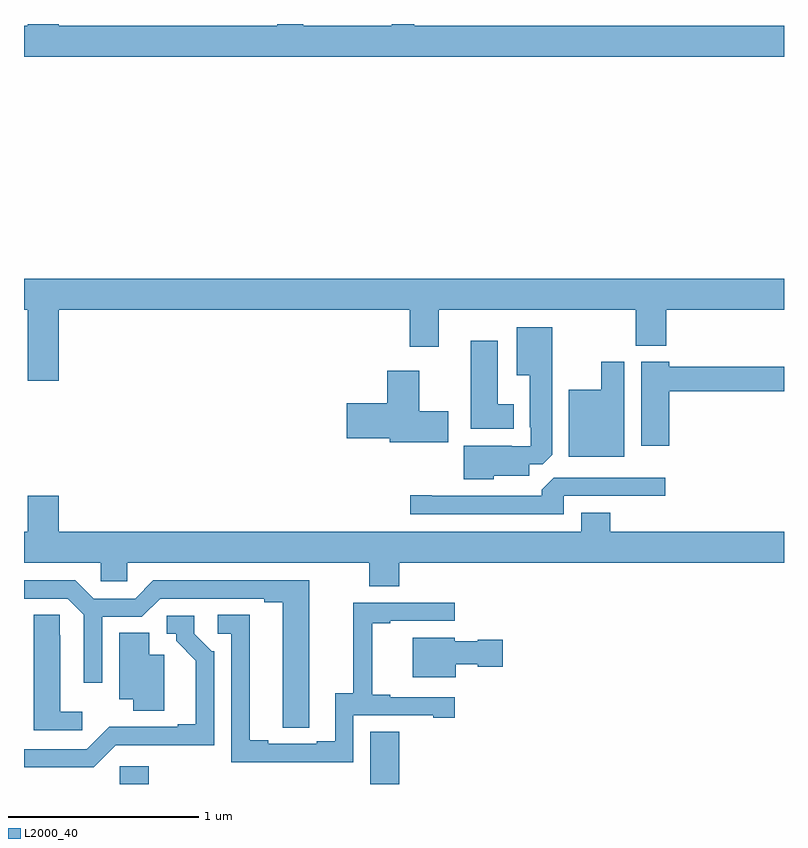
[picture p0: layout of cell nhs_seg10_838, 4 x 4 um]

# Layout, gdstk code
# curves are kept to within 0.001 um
import gdstk
lib = gdstk.Library(unit=1e-6, precision=1e-09)
def R(c, l, rs):  # rectangles x0, y0, x1, y1
    for r in rs: c.add(gdstk.rectangle(r[:2], r[2:], *l))
def P(c, l, *ps):  # polygons
    for p in ps: c.add(gdstk.Polygon(p, *l))
L2000_40 = (2000, 40)

nhs_seg10_838 = lib.new_cell('nhs_seg10_838')
R(nhs_seg10_838, L2000_40, [(153.504,1284.5,153.656,1284.594), (154.823,1284.5,154.976,1284.776)])
P(nhs_seg10_838, L2000_40, [(157,1288.492),(155.054,1288.492),(155.054,1288.5),(154.936,1288.5),(154.936,1288.492),(154.469,1288.492),(154.469,1288.5),(154.333,1288.5),(154.333,1288.492),(153.184,1288.492),(153.184,1288.5),(153.02,1288.5),(153.02,1288.492),(153,1288.492),(153,1288.328),(157,1288.328)],
  [(153.184,1286.996),(155.03,1286.996),(155.03,1286.802),(155.182,1286.802),(155.182,1286.996),(156.22,1286.996),(156.22,1286.807),(156.38,1286.807),(156.38,1286.996),(157,1286.996),(157,1287.16),(153,1287.16),(153,1286.996),(153.02,1286.996),(153.02,1286.622),(153.184,1286.622)],
  [(155.472,1286.123),(155.659,1286.123),(155.659,1286.184),(155.73,1286.184),(155.779,1286.233),(155.779,1286.905),(155.594,1286.905),(155.594,1286.651),(155.663,1286.651),(155.663,1286.377),(155.667,1286.377),(155.667,1286.277),(155.567,1286.277),(155.567,1286.281),(155.315,1286.281),(155.315,1286.105),(155.472,1286.105)],
  [(155.578,1286.5),(155.494,1286.5),(155.494,1286.833),(155.351,1286.833),(155.351,1286.369),(155.578,1286.369)],
  [(156.16,1286.722),(156.038,1286.722),(156.038,1286.575),(155.867,1286.575),(155.867,1286.222),(156.16,1286.222)],
  [(156.395,1286.566),(157,1286.566),(157,1286.695),(156.395,1286.695),(156.395,1286.722),(156.248,1286.722),(156.248,1286.28),(156.395,1286.28)],
  [(155.233,1286.463),(155.08,1286.463),(155.08,1286.674),(154.913,1286.674),(154.913,1286.504),(154.698,1286.504),(154.698,1286.321),(154.925,1286.321),(154.925,1286.3),(155.233,1286.3)],
  [(155.841,1286.016),(156.376,1286.016),(156.376,1286.112),(155.787,1286.112),(155.726,1286.05),(155.726,1286.016),(155.146,1286.016),(155.146,1286.021),(155.034,1286.021),(155.034,1285.92),(155.841,1285.92)],
  [(154.976,1285.664),(157,1285.664),(157,1285.828),(156.086,1285.828),(156.086,1285.927),(155.933,1285.927),(155.933,1285.828),(153.184,1285.828),(153.184,1286.017),(153.02,1286.017),(153.02,1285.828),(153,1285.828),(153,1285.664),(153.405,1285.664),(153.405,1285.566),(153.543,1285.566),(153.543,1285.664),(154.816,1285.664),(154.816,1285.54),(154.976,1285.54)],
  [(154.5,1284.904),(154.501,1285.572),(153.681,1285.572),(153.585,1285.476),(153.367,1285.476),(153.271,1285.572),(153,1285.572),(153,1285.476),(153.231,1285.476),(153.315,1285.392),(153.315,1285.032),(153.411,1285.032),(153.411,1285.38),(153.621,1285.38),(153.717,1285.476),(154.265,1285.476),(154.265,1285.456),(154.361,1285.456),(154.361,1284.796),(154.5,1284.796)],
  [(154.734,1284.861),(155.153,1284.861),(155.153,1284.849),(155.266,1284.849),(155.266,1284.957),(154.927,1284.957),(154.927,1284.97),(154.832,1284.97),(154.832,1285.347),(154.927,1285.347),(154.927,1285.359),(155.266,1285.359),(155.266,1285.455),(154.732,1285.455),(154.732,1284.977),(154.637,1284.977),(154.637,1284.726),(154.541,1284.726),(154.541,1284.711),(154.285,1284.711),(154.285,1284.731),(154.189,1284.731),(154.189,1285.391),(154.02,1285.391),(154.02,1285.29),(154.092,1285.29),(154.092,1284.615),(154.734,1284.615)],
  [(153.307,1284.88),(153.19,1284.88),(153.19,1285.283),(153.189,1285.283),(153.189,1285.391),(153.05,1285.391),(153.05,1284.783),(153.307,1284.783)],
  [(153.483,1284.705),(154.002,1284.704),(154.002,1285.2),(153.987,1285.2),(153.897,1285.29),(153.897,1285.386),(153.75,1285.386),(153.75,1285.29),(153.8,1285.29),(153.8,1285.255),(153.905,1285.15),(153.905,1284.814),(153.809,1284.814),(153.809,1284.801),(153.448,1284.802),(153.33,1284.684),(153,1284.684),(153,1284.588),(153.366,1284.588)],
  [(153.739,1285.18),(153.658,1285.18),(153.658,1285.295),(153.5,1285.295),(153.5,1284.947),(153.575,1284.947),(153.575,1284.886),(153.739,1284.886)],
  [(155.272,1285.13),(155.388,1285.13),(155.388,1285.118),(155.521,1285.118),(155.521,1285.26),(155.388,1285.26),(155.388,1285.252),(155.268,1285.252),(155.268,1285.27),(155.045,1285.27),(155.045,1285.061),(155.272,1285.061)])

lib.write_gds('nhs_seg10_838.gds')
